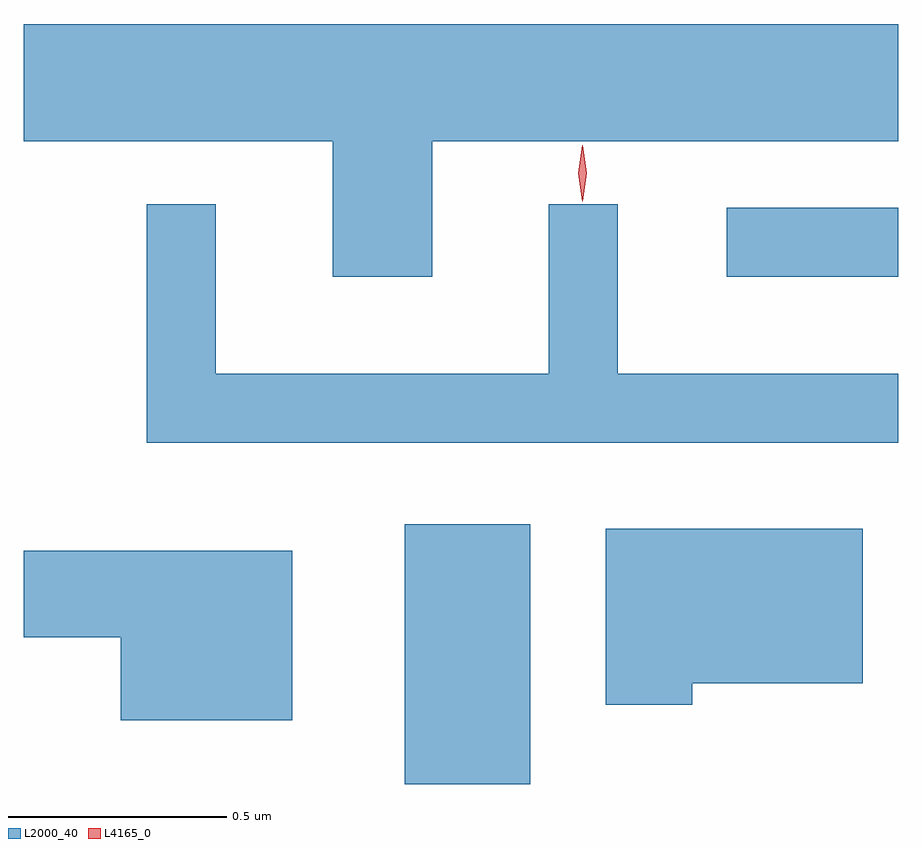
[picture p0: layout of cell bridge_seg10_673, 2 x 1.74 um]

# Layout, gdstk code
import gdstk
lib = gdstk.Library(unit=1e-6, precision=1e-09)
def R(c, l, rs):  # rectangles x0, y0, x1, y1
    for r in rs: c.add(gdstk.rectangle(r[:2], r[2:], *l))
def P(c, l, *ps):  # polygons
    for p in ps: c.add(gdstk.Polygon(p, *l))
L2000_40 = (2000, 40)
L4165_0 = (4165, 0)

bridge_seg10_673 = lib.new_cell('bridge_seg10_673')
R(bridge_seg10_673, L2000_40, [(744.676,2094.685,744.964,2095.279), (745.413,2095.846,745.805,2096.004)])
P(bridge_seg10_673, L2000_40, [(744.739,2096.156),(745.805,2096.156),(745.805,2096.424),(743.805,2096.424),(743.805,2096.156),(744.511,2096.156),(744.511,2095.846),(744.739,2095.846)],
  [(745.805,2095.624),(745.164,2095.624),(745.164,2096.012),(745.006,2096.012),(745.006,2095.624),(744.244,2095.624),(744.244,2096.012),(744.086,2096.012),(744.086,2095.466),(745.805,2095.466)],
  [(745.334,2094.916),(745.724,2094.916),(745.724,2095.269),(745.136,2095.269),(745.136,2094.866),(745.334,2094.866)],
  [(744.419,2095.219),(743.805,2095.219),(743.805,2095.021),(744.026,2095.021),(744.026,2094.831),(744.419,2094.831)])
P(bridge_seg10_673, L4165_0, [(745.083,2096.018),(745.083,2096.018),(745.073,2096.082),(745.082,2096.146),(745.083,2096.147),(745.084,2096.146),(745.093,2096.082),(745.084,2096.018)])

lib.write_gds('bridge_seg10_673.gds')
